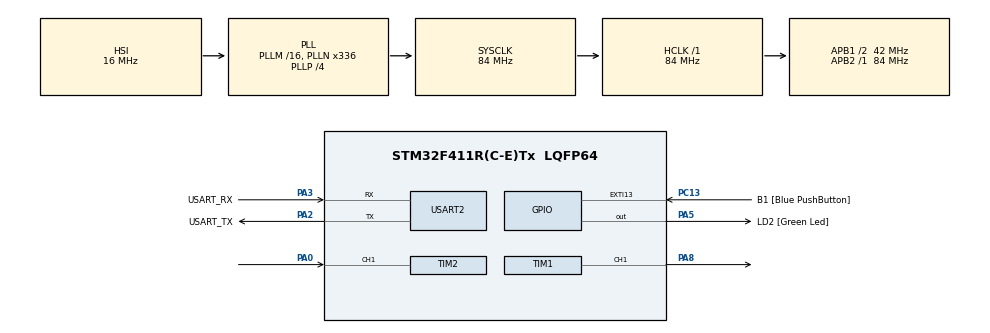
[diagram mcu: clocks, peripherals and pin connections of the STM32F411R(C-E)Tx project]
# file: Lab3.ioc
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Dma.Request0=TIM2_CH1
Dma.TIM2_CH1.0.Direction=DMA_PERIPH_TO_MEMORY
Dma.TIM2_CH1.0.FIFOMode=DMA_FIFOMODE_DISABLE
Dma.TIM2_CH1.0.Instance=DMA1_Stream5
Dma.TIM2_CH1.0.MemDataAlignment=DMA_MDATAALIGN_WORD
Dma.TIM2_CH1.0.MemInc=DMA_MINC_ENABLE
Dma.TIM2_CH1.0.Mode=DMA_CIRCULAR
Dma.TIM2_CH1.0.PeriphDataAlignment=DMA_PDATAALIGN_WORD
Dma.TIM2_CH1.0.PeriphInc=DMA_PINC_DISABLE
Dma.TIM2_CH1.0.Priority=DMA_PRIORITY_LOW
Mcu.Family=STM32F4
Mcu.Name=STM32F411R(C-E)Tx
Mcu.Package=LQFP64
NVIC.DMA1_Stream5_IRQn=true\:0\:0\:false\:false\:true\:false\:true\:true
NVIC.PriorityGroup=NVIC_PRIORITYGROUP_0
PA0-WKUP.Signal=S_TIM2_CH1_ETR
PA13.GPIO_Label=TMS
PA13.Mode=Serial_Wire
PA13.Signal=SYS_JTMS-SWDIO
PA14.GPIO_Label=TCK
PA14.Mode=Serial_Wire
PA14.Signal=SYS_JTCK-SWCLK
PA2.GPIO_Label=USART_TX
PA2.Mode=Asynchronous
PA2.Signal=USART2_TX
PA3.GPIO_Label=USART_RX
PA3.Mode=Asynchronous
PA3.Signal=USART2_RX
PA5.GPIO_Label=LD2 [Green Led]
PA5.Signal=GPIO_Output
PA8.Signal=S_TIM1_CH1
PB3.GPIO_Label=SWO
PB3.Signal=SYS_JTDO-SWO
PC13-ANTI_TAMP.GPIO_Label=B1 [Blue PushButton]
PC13-ANTI_TAMP.GPIO_ModeDefaultEXTI=GPIO_MODE_IT_FALLING
PC13-ANTI_TAMP.Signal=GPXTI13
PC14-OSC32_IN.Mode=LSE-External-Oscillator
PC14-OSC32_IN.Signal=RCC_OSC32_IN
PC15-OSC32_OUT.Mode=LSE-External-Oscillator
PC15-OSC32_OUT.Signal=RCC_OSC32_OUT
PH0\ -\ OSC_IN.Mode=HSE-External-Clock-Source
PH0\ -\ OSC_IN.Signal=RCC_OSC_IN
PH1\ -\ OSC_OUT.Mode=HSE-External-Clock-Source
PH1\ -\ OSC_OUT.Signal=RCC_OSC_OUT
ProjectManager.HeapSize=0x200
ProjectManager.StackSize=0x400
ProjectManager.TargetToolchain=STM32CubeIDE
RCC.48MHZClocksFreq_Value=84000000
RCC.AHBFreq_Value=84000000
RCC.APB1CLKDivider=RCC_HCLK_DIV2
RCC.APB1Freq_Value=42000000
RCC.APB1TimFreq_Value=84000000
RCC.APB2Freq_Value=84000000
RCC.APB2TimFreq_Value=84000000
RCC.CortexFreq_Value=84000000
RCC.FLatency-AdvancedSettings=FLASH_LATENCY_2
RCC.HCLKFreq_Value=84000000
RCC.HSE_VALUE=8000000
RCC.HSI_VALUE=16000000
RCC.PLLN=336
RCC.PLLP=RCC_PLLP_DIV4
RCC.SYSCLKFreq_VALUE=84000000
RCC.SYSCLKSource=RCC_SYSCLKSOURCE_PLLCLK
RCC.VCOOutputFreq_Value=336000000
SH.S_TIM1_CH1.0=TIM1_CH1,PWM Generation1 CH1
SH.S_TIM2_CH1_ETR.0=TIM2_CH1,Input_Capture1_from_TI1
TIM1.Channel-PWM\ Generation1\ CH1=TIM_CHANNEL_1
TIM1.Period=1000
TIM1.Prescaler=83
TIM1.Pulse-PWM\ Generation1\ CH1=500
TIM2.Channel-Input_Capture1_from_TI1=TIM_CHANNEL_1
TIM2.Prescaler=83
USART2.VirtualMode=VM_ASYNC
VP_TIM1_VS_ClockSourceINT.Mode=Internal
VP_TIM2_VS_ClockSourceINT.Mode=Internal
board=NUCLEO-F411RE

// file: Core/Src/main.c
/* USER CODE BEGIN Header */
/**
  ******************************************************************************
  * @file           : main.c
  * @brief          : Main program body
  ******************************************************************************
  * @attention
  *
  * Copyright (c) 2023 STMicroelectronics.
  * All rights reserved.
  *
  * This software is licensed under terms that can be found in the LICENSE file
  * in the root directory of this software component.
  * If no LICENSE file comes with this software, it is provided AS-IS.
  *
  ******************************************************************************
  */
/* USER CODE END Header */
#include "main.h"

/* USER CODE BEGIN Includes */
#define IC_BUFFER_SIZE 20
/* USER CODE END Includes */

TIM_HandleTypeDef htim1;
TIM_HandleTypeDef htim2;
DMA_HandleTypeDef hdma_tim2_ch1;

UART_HandleTypeDef huart2;

/* USER CODE BEGIN PV */
uint32_t InputCaptureBuffer[IC_BUFFER_SIZE];
float averageRisingedgePeriod;
float MotorReadRPM;
float MotorSetRPM = 17.00;
float MotorReadRPMBeforeGeared;

int MotorControlEnable = 0;

uint32_t MotorSetDuty = 50;

/* USER CODE END PV */

void SystemClock_Config(void);
static void MX_GPIO_Init(void);
static void MX_DMA_Init(void);
static void MX_USART2_UART_Init(void);
static void MX_TIM1_Init(void);
static void MX_TIM2_Init(void);
/* USER CODE BEGIN PFP */
float IC_Calc_Period();
/* USER CODE END PFP */

int main(void)
{

  /* MCU Configuration--------------------------------------------------------*/

  /* Reset of all peripherals, Initializes the Flash interface and the Systick. */
  HAL_Init();

  /* Configure the system clock */
  SystemClock_Config();

  /* Initialize all configured peripherals */
  MX_GPIO_Init();
  MX_DMA_Init();
  MX_USART2_UART_Init();
  MX_TIM1_Init();
  MX_TIM2_Init();
  /* USER CODE BEGIN 2 */
  HAL_TIM_Base_Start(&htim2);
  HAL_TIM_IC_Start_DMA(&htim2, TIM_CHANNEL_1, InputCaptureBuffer, IC_BUFFER_SIZE);

  HAL_TIM_Base_Start(&htim1);
  HAL_TIM_PWM_Start(&htim1, TIM_CHANNEL_1);
  /* USER CODE END 2 */

  /* Infinite loop */
  while (1)
  {

    /* USER CODE BEGIN 3 */
  static uint32_t timestamp = 0;
	if(HAL_GetTick()>=timestamp){
	  timestamp = HAL_GetTick()+500;
	  averageRisingedgePeriod = IC_Calc_Period();

	  MotorReadRPM = (60*1000000)/(12*averageRisingedgePeriod*64);
	  MotorReadRPMBeforeGeared = (60 * 1000000)/(12*averageRisingedgePeriod);

	  if(MotorControlEnable == 0){
		  __HAL_TIM_SET_COMPARE(&htim1,TIM_CHANNEL_1,MotorSetDuty*10);

	  }else if (MotorControlEnable == 1){
		  if(MotorSetRPM > MotorReadRPM){
			  MotorSetDuty = (MotorSetDuty+1);
		  }else if (MotorSetRPM < MotorReadRPM){
			  MotorSetDuty = (MotorSetDuty-1);
		  }

		  if(MotorSetDuty >= 100){
			  MotorSetDuty = 100;
		  }else if (MotorSetDuty <= 0){
			  MotorSetDuty = 0;
		  }

		  if(MotorSetDuty >= 0 && MotorSetDuty <= 100){
			  __HAL_TIM_SET_COMPARE(&htim1,TIM_CHANNEL_1,MotorSetDuty*10);
		  }else if(MotorSetDuty >= 100){
			  __HAL_TIM_SET_COMPARE(&htim1,TIM_CHANNEL_1,10*10);
		  }else{
			  __HAL_TIM_SET_COMPARE(&htim1,TIM_CHANNEL_1,0);
		  }
	  }
	}
  }
  /* USER CODE END 3 */
}

void SystemClock_Config(void)
{
  RCC_OscInitTypeDef RCC_OscInitStruct = {0};
  RCC_ClkInitTypeDef RCC_ClkInitStruct = {0};

  /** Configure the main internal regulator output voltage
  */
  __HAL_RCC_PWR_CLK_ENABLE();
  __HAL_PWR_VOLTAGESCALING_CONFIG(PWR_REGULATOR_VOLTAGE_SCALE1);

  /** Initializes the RCC Oscillators according to the specified parameters
  * in the RCC_OscInitTypeDef structure.
  */
  RCC_OscInitStruct.OscillatorType = RCC_OSCILLATORTYPE_HSI;
  RCC_OscInitStruct.HSIState = RCC_HSI_ON;
  RCC_OscInitStruct.HSICalibrationValue = RCC_HSICALIBRATION_DEFAULT;
  RCC_OscInitStruct.PLL.PLLState = RCC_PLL_ON;
  RCC_OscInitStruct.PLL.PLLSource = RCC_PLLSOURCE_HSI;
  RCC_OscInitStruct.PLL.PLLM = 16;
  RCC_OscInitStruct.PLL.PLLN = 336;
  RCC_OscInitStruct.PLL.PLLP = RCC_PLLP_DIV4;
  RCC_OscInitStruct.PLL.PLLQ = 4;
  if (HAL_RCC_OscConfig(&RCC_OscInitStruct) != HAL_OK)
  {
    Error_Handler();
  }

  /** Initializes the CPU, AHB and APB buses clocks
  */
  RCC_ClkInitStruct.ClockType = RCC_CLOCKTYPE_HCLK|RCC_CLOCKTYPE_SYSCLK
                              |RCC_CLOCKTYPE_PCLK1|RCC_CLOCKTYPE_PCLK2;
  RCC_ClkInitStruct.SYSCLKSource = RCC_SYSCLKSOURCE_PLLCLK;
  RCC_ClkInitStruct.AHBCLKDivider = RCC_SYSCLK_DIV1;
  RCC_ClkInitStruct.APB1CLKDivider = RCC_HCLK_DIV2;
  RCC_ClkInitStruct.APB2CLKDivider = RCC_HCLK_DIV1;

  if (HAL_RCC_ClockConfig(&RCC_ClkInitStruct, FLASH_LATENCY_2) != HAL_OK)
  {
    Error_Handler();
  }
}

static void MX_TIM1_Init(void)
{

  TIM_ClockConfigTypeDef sClockSourceConfig = {0};
  TIM_MasterConfigTypeDef sMasterConfig = {0};
  TIM_OC_InitTypeDef sConfigOC = {0};
  TIM_BreakDeadTimeConfigTypeDef sBreakDeadTimeConfig = {0};

  htim1.Instance = TIM1;
  htim1.Init.Prescaler = 83;
  htim1.Init.CounterMode = TIM_COUNTERMODE_UP;
  htim1.Init.Period = 1000;
  htim1.Init.ClockDivision = TIM_CLOCKDIVISION_DIV1;
  htim1.Init.RepetitionCounter = 0;
  htim1.Init.AutoReloadPreload = TIM_AUTORELOAD_PRELOAD_DISABLE;
  if (HAL_TIM_Base_Init(&htim1) != HAL_OK)
  {
    Error_Handler();
  }
  sClockSourceConfig.ClockSource = TIM_CLOCKSOURCE_INTERNAL;
  if (HAL_TIM_ConfigClockSource(&htim1, &sClockSourceConfig) != HAL_OK)
  {
    Error_Handler();
  }
  if (HAL_TIM_PWM_Init(&htim1) != HAL_OK)
  {
    Error_Handler();
  }
  sMasterConfig.MasterOutputTrigger = TIM_TRGO_RESET;
  sMasterConfig.MasterSlaveMode = TIM_MASTERSLAVEMODE_DISABLE;
  if (HAL_TIMEx_MasterConfigSynchronization(&htim1, &sMasterConfig) != HAL_OK)
  {
    Error_Handler();
  }
  sConfigOC.OCMode = TIM_OCMODE_PWM1;
  sConfigOC.Pulse = 500;
  sConfigOC.OCPolarity = TIM_OCPOLARITY_HIGH;
  sConfigOC.OCNPolarity = TIM_OCNPOLARITY_HIGH;
  sConfigOC.OCFastMode = TIM_OCFAST_DISABLE;
  sConfigOC.OCIdleState = TIM_OCIDLESTATE_RESET;
  sConfigOC.OCNIdleState = TIM_OCNIDLESTATE_RESET;
  if (HAL_TIM_PWM_ConfigChannel(&htim1, &sConfigOC, TIM_CHANNEL_1) != HAL_OK)
  {
    Error_Handler();
  }
  sBreakDeadTimeConfig.OffStateRunMode = TIM_OSSR_DISABLE;
  sBreakDeadTimeConfig.OffStateIDLEMode = TIM_OSSI_DISABLE;
  sBreakDeadTimeConfig.LockLevel = TIM_LOCKLEVEL_OFF;
  sBreakDeadTimeConfig.DeadTime = 0;
  sBreakDeadTimeConfig.BreakState = TIM_BREAK_DISABLE;
  sBreakDeadTimeConfig.BreakPolarity = TIM_BREAKPOLARITY_HIGH;
  sBreakDeadTimeConfig.AutomaticOutput = TIM_AUTOMATICOUTPUT_DISABLE;
  if (HAL_TIMEx_ConfigBreakDeadTime(&htim1, &sBreakDeadTimeConfig) != HAL_OK)
  {
    Error_Handler();
  }
  HAL_TIM_MspPostInit(&htim1);

}

static void MX_TIM2_Init(void)
{

  TIM_ClockConfigTypeDef sClockSourceConfig = {0};
  TIM_MasterConfigTypeDef sMasterConfig = {0};
  TIM_IC_InitTypeDef sConfigIC = {0};

  htim2.Instance = TIM2;
  htim2.Init.Prescaler = 83;
  htim2.Init.CounterMode = TIM_COUNTERMODE_UP;
  htim2.Init.Period = 4294967295;
  htim2.Init.ClockDivision = TIM_CLOCKDIVISION_DIV1;
  htim2.Init.AutoReloadPreload = TIM_AUTORELOAD_PRELOAD_DISABLE;
  if (HAL_TIM_Base_Init(&htim2) != HAL_OK)
  {
    Error_Handler();
  }
  sClockSourceConfig.ClockSource = TIM_CLOCKSOURCE_INTERNAL;
  if (HAL_TIM_ConfigClockSource(&htim2, &sClockSourceConfig) != HAL_OK)
  {
    Error_Handler();
  }
  if (HAL_TIM_IC_Init(&htim2) != HAL_OK)
  {
    Error_Handler();
  }
  sMasterConfig.MasterOutputTrigger = TIM_TRGO_RESET;
  sMasterConfig.MasterSlaveMode = TIM_MASTERSLAVEMODE_DISABLE;
  if (HAL_TIMEx_MasterConfigSynchronization(&htim2, &sMasterConfig) != HAL_OK)
  {
    Error_Handler();
  }
  sConfigIC.ICPolarity = TIM_INPUTCHANNELPOLARITY_RISING;
  sConfigIC.ICSelection = TIM_ICSELECTION_DIRECTTI;
  sConfigIC.ICPrescaler = TIM_ICPSC_DIV1;
  sConfigIC.ICFilter = 0;
  if (HAL_TIM_IC_ConfigChannel(&htim2, &sConfigIC, TIM_CHANNEL_1) != HAL_OK)
  {
    Error_Handler();
  }

}

static void MX_USART2_UART_Init(void)
{

  huart2.Instance = USART2;
  huart2.Init.BaudRate = 115200;
  huart2.Init.WordLength = UART_WORDLENGTH_8B;
  huart2.Init.StopBits = UART_STOPBITS_1;
  huart2.Init.Parity = UART_PARITY_NONE;
  huart2.Init.Mode = UART_MODE_TX_RX;
  huart2.Init.HwFlowCtl = UART_HWCONTROL_NONE;
  huart2.Init.OverSampling = UART_OVERSAMPLING_16;
  if (HAL_UART_Init(&huart2) != HAL_OK)
  {
    Error_Handler();
  }

}

static void MX_DMA_Init(void)
{

  /* DMA controller clock enable */
  __HAL_RCC_DMA1_CLK_ENABLE();

  /* DMA interrupt init */
  /* DMA1_Stream5_IRQn interrupt configuration */
  HAL_NVIC_SetPriority(DMA1_Stream5_IRQn, 0, 0);
  HAL_NVIC_EnableIRQ(DMA1_Stream5_IRQn);

}

static void MX_GPIO_Init(void)
{
  GPIO_InitTypeDef GPIO_InitStruct = {0};

  /* GPIO Ports Clock Enable */
  __HAL_RCC_GPIOC_CLK_ENABLE();
  __HAL_RCC_GPIOH_CLK_ENABLE();
  __HAL_RCC_GPIOA_CLK_ENABLE();
  __HAL_RCC_GPIOB_CLK_ENABLE();

  /*Configure GPIO pin Output Level */
  HAL_GPIO_WritePin(LD2_GPIO_Port, LD2_Pin, GPIO_PIN_RESET);

  /*Configure GPIO pin : B1_Pin */
  GPIO_InitStruct.Pin = B1_Pin;
  GPIO_InitStruct.Mode = GPIO_MODE_IT_FALLING;
  GPIO_InitStruct.Pull = GPIO_NOPULL;
  HAL_GPIO_Init(B1_GPIO_Port, &GPIO_InitStruct);

  /*Configure GPIO pin : LD2_Pin */
  GPIO_InitStruct.Pin = LD2_Pin;
  GPIO_InitStruct.Mode = GPIO_MODE_OUTPUT_PP;
  GPIO_InitStruct.Pull = GPIO_NOPULL;
  GPIO_InitStruct.Speed = GPIO_SPEED_FREQ_LOW;
  HAL_GPIO_Init(LD2_GPIO_Port, &GPIO_InitStruct);

}

/* USER CODE BEGIN 4 */
float IC_Calc_Period(){
	uint32_t currentDMAPointer = IC_BUFFER_SIZE - __HAL_DMA_GET_COUNTER((htim2.hdma[1]));

	uint32_t lastValidDMAPointer = (currentDMAPointer-1 + IC_BUFFER_SIZE) % IC_BUFFER_SIZE;

	uint32_t i = (lastValidDMAPointer + IC_BUFFER_SIZE - 5) % IC_BUFFER_SIZE;

	int32_t sumdiff = 0;
	while(i != lastValidDMAPointer){
		uint32_t firstCapture = InputCaptureBuffer[i];

		uint32_t NextCapture = InputCaptureBuffer[(i+1)%IC_BUFFER_SIZE];
		sumdiff += NextCapture - firstCapture;
		i = (i+1) % IC_BUFFER_SIZE;

	}
	return sumdiff/5.0;
}
/* USER CODE END 4 */

void Error_Handler(void)
{
  __disable_irq();
  while (1)
  {
  }
}
